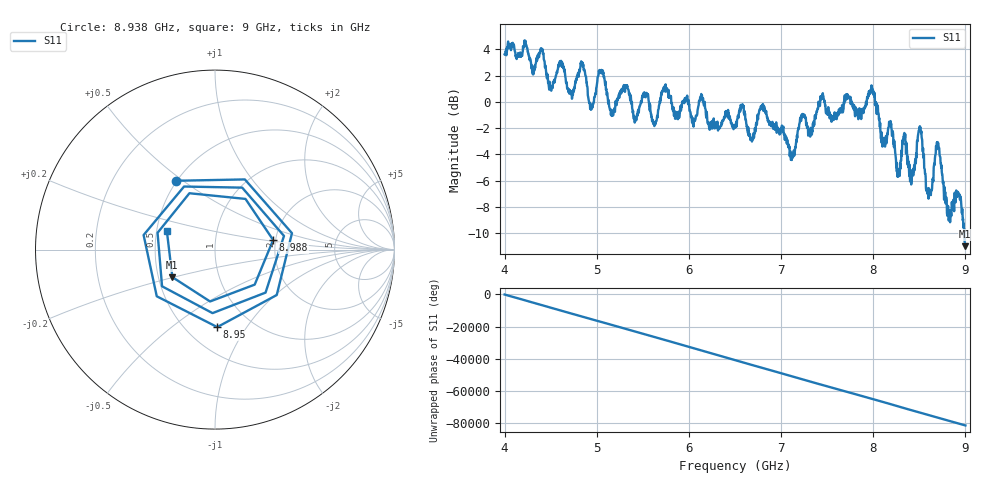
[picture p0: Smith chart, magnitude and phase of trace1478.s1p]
! Created with skrf 1.8.0 (http://scikit-rf.org).
# Hz S RI R 50.0
!freq ReS11 ImS11
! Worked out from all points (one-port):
!   1601 points, 4 GHz to 9 GHz, reference 50 ohm
!   lowest |S11| = -11.0 dB at 8.997 GHz (marker M1), VSWR 1.79, Z = 29.6 - j9.87 ohm
!   |S11| at or under -10 dB: 8.989048 GHz to end of sweep
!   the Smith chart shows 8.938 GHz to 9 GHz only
!   S11 on the Smith chart (normalised r, x): 8.938 GHz: 0.49, +0.47; 8.95 GHz: 0.70, -0.74; 8.988 GHz: 1.94, +0.23; 9 GHz: 0.57, +0.13
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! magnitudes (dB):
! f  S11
! 4 GHz  3.6
! 4.497 GHz  1.1
! 4.625 GHz  2.7
! 4.716 GHz  0.8
! 4.847 GHz  3.0
! 4.938 GHz  -0.6
! 5.047 GHz  2.2
! 5.159 GHz  -1.0
! 5.25 GHz  0.7
! 5.875 GHz  -0.8
! 6.5 GHz  -2.0
! 6.8 GHz  -0.6
! 7.125 GHz  -4.0
! 7.231 GHz  -1.1
! 7.75 GHz  0.3
! 7.991 GHz  1.0
! 8.269 GHz  -5.4
! 8.375 GHz  -4.2
! 8.425 GHz  -5.4
! 8.506 GHz  -1.9
! 8.597 GHz  -6.6
! 8.7 GHz  -3.3
! 8.822 GHz  -8.9
! 8.938 GHz  -7.1
! 8.95 GHz  -7.3
! 8.988 GHz  -9.7
! 8.997 GHz  -11.0
! 9 GHz  -10.8
